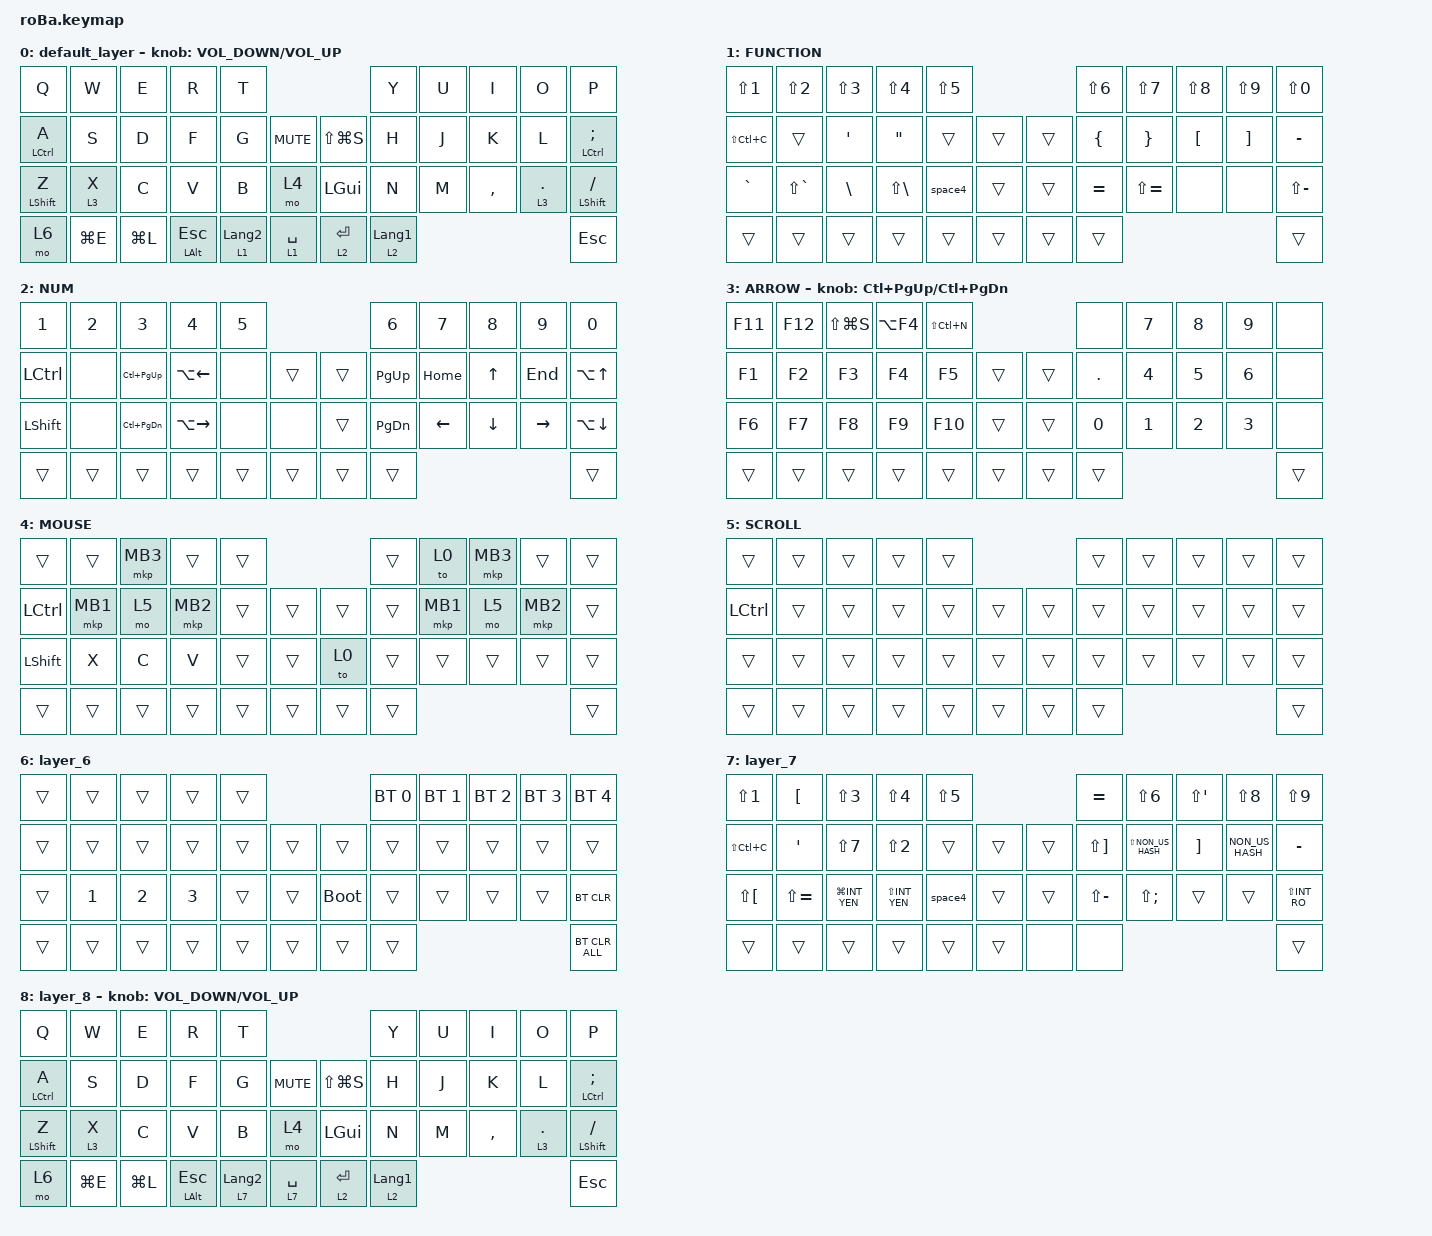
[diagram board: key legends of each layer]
#include <behaviors.dtsi>
#include <dt-bindings/zmk/bt.h>
#include <dt-bindings/zmk/keys.h>
#include <dt-bindings/zmk/pointing.h>

&mt {
    flavor = "balanced";
    quick-tap-ms = <0>;
};

&trackball {
    automouse-layer = <4>;
    scroll-layers = <5>;

    // arrows {
    //     layers = <3>;
    //     bindings =
    //         <&kp RIGHT_ARROW>,
    //         <&kp LEFT_ARROW>,
    //         <&kp UP_ARROW>,
    //         <&kp DOWN_ARROW>;
    //     tick = <10>;
    //     wait-ms = <5>;
    //     tap-ms = <5>;
    // };
};

/ {
    combos {
        compatible = "zmk,combos";

        tab {
            bindings = <&kp TAB>;
            key-positions = <0 1>;
        };

        backspace {
            bindings = <&kp BACKSPACE>;
            key-positions = <18 19>;
        };

        delete {
            bindings = <&kp DELETE>;
            key-positions = <30 31>;
        };

        Japanese {
            bindings = <&to 8>;
            key-positions = <5 17>;
        };

        English {
            bindings = <&to 0>;
            key-positions = <4 14>;
        };
    };

    macros {
        to_layer_0: to_layer_0 {
            compatible = "zmk,behavior-macro-one-param";
            #binding-cells = <1>;
            bindings = <&to 0 &macro_param_1to1 &kp MACRO_PLACEHOLDER>;
            label = "TO_LAYER_0";
        };

        space4: space4 {
            compatible = "zmk,behavior-macro";
            #binding-cells = <0>;
            bindings = <&kp SPACE &kp SPACE &kp SPACE &kp SPACE>;
            label = "SPACE4";
        };
    };

    behaviors {
        lt_to_layer_0: lt_to_layer_0 {
            compatible = "zmk,behavior-hold-tap";
            label = "LAYER_TAP_TO_0";
            bindings = <&mo>, <&to_layer_0>;

            #binding-cells = <2>;
            tapping-term-ms = <200>;
        };
    };

    keymap {
        compatible = "zmk,keymap";

        default_layer {
            bindings = <
&kp Q               &kp W      &kp E      &kp R                &kp T                                             &kp Y             &kp U  &kp I      &kp O         &kp P
&mt LEFT_CONTROL A  &kp S      &kp D      &kp F                &kp G             &kp C_MUTE       &kp LS(LG(S))  &kp H             &kp J  &kp K      &kp L         &mt LEFT_CONTROL SEMICOLON
&mt LEFT_SHIFT Z    &lt 3 X    &kp C      &kp V                &kp B             &mo 4            &kp LEFT_GUI   &kp N             &kp M  &kp COMMA  &lt 3 PERIOD  &mt LEFT_SHIFT SLASH
&mo 6               &kp LG(E)  &kp LG(L)  &mt LEFT_ALT ESCAPE  &lt 1 LANGUAGE_2  &lt 1 SPACE      &lt 2 ENTER    &lt 2 LANGUAGE_1                                  &kp ESCAPE
            >;

            sensor-bindings = <&inc_dec_kp C_VOLUME_DOWN C_VOLUME_UP>;
        };

        FUNCTION {
            bindings = <
&kp LS(NUMBER_1)  &kp LS(NUMBER_2)  &kp LS(NUMBER_3)  &kp LS(NUMBER_4)   &kp LS(NUMBER_5)                      &kp LS(NUMBER_6)  &kp LS(NUMBER_7)  &kp LS(NUMBER_8)  &kp LS(NUMBER_9)   &kp LS(NUMBER_0)
&kp LS(LC(C))     &trans            &kp SQT           &kp DOUBLE_QUOTES  &trans            &trans      &trans  &kp LEFT_BRACE    &kp RIGHT_BRACE   &kp LEFT_BRACKET  &kp RIGHT_BRACKET  &kp MINUS
&kp GRAVE         &kp LS(GRAVE)     &kp BACKSLASH     &kp LS(BACKSLASH)  &space4           &trans      &trans  &kp EQUAL         &kp LS(EQUAL)     &none             &none              &kp LS(MINUS)
&trans            &trans            &trans            &trans             &trans            &trans      &trans  &trans                                                                   &trans
            >;
        };

        NUM {
            bindings = <
&kp NUMBER_1    &kp NUMBER_2  &kp NUMBER_3       &kp NUMBER_4         &kp NUMBER_5                      &kp NUMBER_6   &kp NUMBER_7    &kp NUMBER_8    &kp NUMBER_9     &kp NUMBER_0
&kp LCTRL       &none         &kp LC(PAGE_UP)    &kp LA(LEFT_ARROW)   &none         &trans      &trans  &kp PAGE_UP    &kp HOME        &kp UP_ARROW    &kp END          &kp LA(UP_ARROW)
&kp LEFT_SHIFT  &none         &kp LC(PAGE_DOWN)  &kp LA(RIGHT_ARROW)  &none         &none       &trans  &kp PAGE_DOWN  &kp LEFT_ARROW  &kp DOWN_ARROW  &kp RIGHT_ARROW  &kp LA(DOWN_ARROW)
&trans          &trans        &trans             &trans               &trans        &trans      &trans  &trans                                                          &trans
            >;
        };

        ARROW {
            bindings = <
&kp F11  &kp F12  &kp LS(LG(S))  &kp LA(F4)  &kp LS(LC(N))                      &none         &kp NUMBER_7  &kp NUMBER_8  &kp NUMBER_9  &none
&kp F1   &kp F2   &kp F3         &kp F4      &kp F5         &trans      &trans  &kp DOT       &kp NUMBER_4  &kp NUMBER_5  &kp NUMBER_6  &none
&kp F6   &kp F7   &kp F8         &kp F9      &kp F10        &trans      &trans  &kp NUMBER_0  &kp NUMBER_1  &kp NUMBER_2  &kp NUMBER_3  &none
&trans   &trans   &trans         &trans      &trans         &trans      &trans  &trans                                                  &trans
            >;

            sensor-bindings = <&inc_dec_kp LC(PAGE_UP) LC(PAGE_DOWN)>;
        };

        MOUSE {
            bindings = <
&trans            &trans    &mkp MB3  &trans    &trans                      &trans  &to 0     &mkp MB3  &trans    &trans
&kp LEFT_CONTROL  &mkp MB1  &mo 5     &mkp MB2  &trans  &trans      &trans  &trans  &mkp MB1  &mo 5     &mkp MB2  &trans
&kp LEFT_SHIFT    &kp X     &kp C     &kp V     &trans  &trans      &to 0   &trans  &trans    &trans    &trans    &trans
&trans            &trans    &trans    &trans    &trans  &trans      &trans  &trans                                &trans
            >;
        };

        SCROLL {
            bindings = <
&trans            &trans  &trans  &trans  &trans                      &trans  &trans  &trans  &trans  &trans
&kp LEFT_CONTROL  &trans  &trans  &trans  &trans  &trans      &trans  &trans  &trans  &trans  &trans  &trans
&trans            &trans  &trans  &trans  &trans  &trans      &trans  &trans  &trans  &trans  &trans  &trans
&trans            &trans  &trans  &trans  &trans  &trans      &trans  &trans                          &trans
            >;
        };

        layer_6 {
            bindings = <
&trans  &trans        &trans        &trans        &trans                           &bt BT_SEL 0  &bt BT_SEL 1  &bt BT_SEL 2  &bt BT_SEL 3  &bt BT_SEL 4
&trans  &trans        &trans        &trans        &trans  &trans      &trans       &trans        &trans        &trans        &trans        &trans
&trans  &kp NUMBER_1  &kp NUMBER_2  &kp NUMBER_3  &trans  &trans      &bootloader  &trans        &trans        &trans        &trans        &bt BT_CLR
&trans  &trans        &trans        &trans        &trans  &trans      &trans       &trans                                                  &bt BT_CLR_ALL
            >;
        };

        layer_7 {
            bindings = <
&kp LS(NUMBER_1)      &kp LEFT_BRACKET  &kp LS(NUMBER_3)  &kp LS(NUMBER_4)  &kp LS(NUMBER_5)                      &kp EQUAL              &kp LS(NUMBER_6)     &kp LS(SQT)        &kp LS(NUMBER_8)  &kp LS(NUMBER_9)
&kp LS(LC(C))         &kp SQT           &kp LS(NUMBER_7)  &kp LS(NUMBER_2)  &trans            &trans      &trans  &kp LS(RIGHT_BRACKET)  &kp LS(NON_US_HASH)  &kp RIGHT_BRACKET  &kp NON_US_HASH   &kp MINUS
&kp LS(LEFT_BRACKET)  &kp LS(EQUAL)     &kp LG(INT_YEN)   &kp LS(INT_YEN)   &space4           &trans      &trans  &kp LS(MINUS)          &kp LS(SEMICOLON)    &trans             &trans            &kp LS(INT_RO)
&trans                &trans            &trans            &trans            &trans            &trans      &none   &none                                                                            &trans
            >;
        };

        layer_8 {
            bindings = <
&kp Q               &kp W      &kp E      &kp R                &kp T                                             &kp Y             &kp U  &kp I      &kp O         &kp P
&mt LEFT_CONTROL A  &kp S      &kp D      &kp F                &kp G             &kp C_MUTE       &kp LS(LG(S))  &kp H             &kp J  &kp K      &kp L         &mt LEFT_CONTROL SEMICOLON
&mt LEFT_SHIFT Z    &lt 3 X    &kp C      &kp V                &kp B             &mo 4            &kp LEFT_GUI   &kp N             &kp M  &kp COMMA  &lt 3 PERIOD  &mt LEFT_SHIFT SLASH
&mo 6               &kp LG(E)  &kp LG(L)  &mt LEFT_ALT ESCAPE  &lt 7 LANGUAGE_2  &lt 7 SPACE      &lt 2 ENTER    &lt 2 LANGUAGE_1                                  &kp ESCAPE
            >;

            sensor-bindings = <&inc_dec_kp C_VOLUME_DOWN C_VOLUME_UP>;
        };
    };
};
